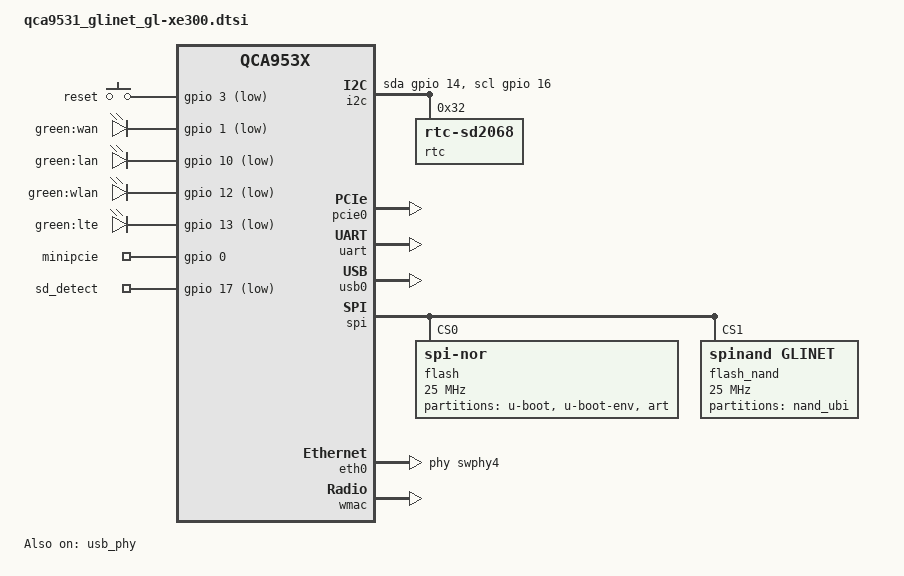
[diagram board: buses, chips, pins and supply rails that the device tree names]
// SPDX-License-Identifier: GPL-2.0-or-later OR MIT

#include "qca953x.dtsi"

#include <dt-bindings/gpio/gpio.h>
#include <dt-bindings/input/input.h>


/ {
	keys {
		compatible = "gpio-keys";

		pinctrl-names = "default";
		pinctrl-0 = <&jtag_disable_pins>;

		button0 {
			label = "reset";
			linux,code = <KEY_RESTART>;
			gpios = <&gpio 3 GPIO_ACTIVE_LOW>;
		};
	};

	leds {
		compatible = "gpio-leds";

		wan {
			label = "green:wan";
			gpios = <&gpio 1 GPIO_ACTIVE_LOW>;
		};

		lan {
			label = "green:lan";
			gpios = <&gpio 10 GPIO_ACTIVE_LOW>;
		};

		wlan {
			label = "green:wlan";
			gpios = <&gpio 12 GPIO_ACTIVE_LOW>;
			linux,default-trigger = "phy0tpt";
		};

		lte {
			label = "green:lte";
			gpios = <&gpio 13 GPIO_ACTIVE_LOW>;
		};
	};

	gpio-export {
		compatible = "gpio-export";

		gpio_minipcie {
			gpio-export,name = "minipcie";
			gpio-export,output = <1>;
			gpios = <&gpio 0 GPIO_ACTIVE_HIGH>;
		};

		gpio_sd_detect {
			gpio-export,name = "sd_detect";
			gpio-export,output = <0>;
			gpios = <&gpio 17 GPIO_ACTIVE_LOW>;
		};
	};

	i2c: i2c {
		compatible = "i2c-gpio";

		sda-gpios = <&gpio 14 (GPIO_ACTIVE_HIGH|GPIO_OPEN_DRAIN)>;
		scl-gpios = <&gpio 16 (GPIO_ACTIVE_HIGH|GPIO_OPEN_DRAIN)>;

		#address-cells = <1>;
		#size-cells = <0>;

		rtc@32 {
                        compatible = "rtc-sd2068";
                        reg = <0x32>;
		};
	};
};

&pcie0 {
	status = "okay";
};

&uart {
	status = "okay";
};

&usb0 {
	status = "okay";
};

&usb_phy {
	status = "okay";
};

&spi {
	status = "okay";

	flash@0 {
		compatible = "jedec,spi-nor";
		reg = <0>;
		spi-max-frequency = <25000000>;

		nor_partitions: partitions {
			compatible = "fixed-partitions";
			#address-cells = <1>;
			#size-cells = <1>;

			partition@0 {
				label = "u-boot";
				reg = <0x000000 0x040000>;
				read-only;
			};

			partition@40000 {
				label = "u-boot-env";
				reg = <0x040000 0x010000>;
			};

			art: partition@50000 {
				label = "art";
				reg = <0x050000 0x010000>;
				read-only;
			};
		};
	};

	flash_nand: flash@1 {
		compatible = "spinand,glinet";
		reg = <1>;
		spi-max-frequency = <25000000>;

		NAND_partitions: partitions {
			compatible = "fixed-partitions";
			#address-cells = <1>;
			#size-cells = <1>;

			nand_ubi: partition@0 {
				label = "nand_ubi";
				reg = <0x000000 0x8000000>;
			};
		};
	};

};

&eth0 {
	status = "okay";

	mtd-mac-address = <&art 0x0>;
	phy-handle = <&swphy4>;
	ifname = "eth1";
};

&eth1 {
	mtd-mac-address = <&art 0x0>;
	mtd-mac-address-increment = <1>;
	ifname = "eth0";
};

&wmac {
	status = "okay";

	mtd-cal-data = <&art 0x1000>;
	mtd-mac-address = <&art 0x1002>;
};
